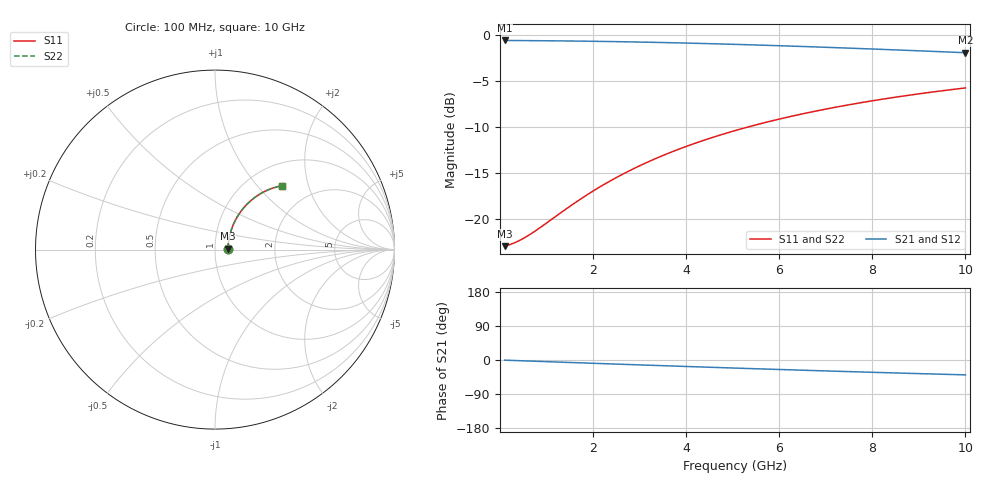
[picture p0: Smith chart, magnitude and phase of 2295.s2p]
# Hz S RI R 50.00
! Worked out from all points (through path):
!   100 points, 100 MHz to 10 GHz, reference 50 ohm
!   highest |S21| = -0.64 dB at 100 MHz (marker M1); lowest = -2.0 dB at 10 GHz (marker M2)
!   group delay of S21, straight-line fit = 10.9 ps
!   lowest |S11| = -22.9 dB at 100 MHz (marker M3), VSWR 1.15, Z = 57.7 + j0.649 ohm
!   |S11| at or under -10 dB: start of sweep to 5.343 GHz
!   |S22| runs from -22.9 to -5.8 dB; largest |S21 - S12| = 0
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1e8  0.0711 0.0056  0.9289 -0.00707  0.9289 -0.00707  0.0711 0.0056
3e8  0.0722 0.0168  0.9278 -0.0212  0.9278 -0.0212  0.0722 0.0168
4e8  0.0728 0.0223  0.9272 -0.0282  0.9272 -0.0282  0.0728 0.0223
6e8  0.074 0.0334  0.9259 -0.0422  0.9259 -0.0422  0.074 0.0334
8e8  0.0755 0.0445  0.9244 -0.0562  0.9244 -0.0562  0.0755 0.0445
1.4e9  0.0818 0.0772  0.9179 -0.0977  0.9179 -0.0977  0.0818 0.0772
1.8e9  0.0875 0.0986  0.9121 -0.125  0.9121 -0.125  0.0875 0.0986
2.2e9  0.0944 0.1194  0.9051 -0.1517  0.9051 -0.1517  0.0944 0.1194
2.6e9  0.1024 0.1397  0.8969 -0.1778  0.8969 -0.1778  0.1024 0.1397
3e9  0.1115 0.1593  0.8875 -0.2033  0.8875 -0.2033  0.1115 0.1593
3.4e9  0.1216 0.1782  0.8771 -0.2281  0.8771 -0.2281  0.1216 0.1782
3.8e9  0.1327 0.1963  0.8656 -0.2521  0.8656 -0.2521  0.1327 0.1963
4.2e9  0.1447 0.2135  0.8532 -0.2753  0.8532 -0.2753  0.1447 0.2135
4.6e9  0.1576 0.2299  0.84 -0.2975  0.84 -0.2975  0.1576 0.2299
5.1e9  0.1746 0.249  0.8224 -0.3241  0.8224 -0.3241  0.1746 0.249
5.5e9  0.189 0.2632  0.8076 -0.3442  0.8076 -0.3442  0.189 0.2632
5.9e9  0.2039 0.2764  0.7922 -0.3634  0.7922 -0.3634  0.2039 0.2764
6.7e9  0.235 0.2998  0.7599 -0.3987  0.7599 -0.3987  0.235 0.2998
7.5e9  0.2674 0.3192  0.7262 -0.4301  0.7262 -0.4301  0.2674 0.3192
8.4e9  0.3046 0.3363  0.6873 -0.4608  0.6873 -0.4608  0.3046 0.3363
9.2e9  0.3379 0.3476  0.6524 -0.4842  0.6524 -0.4842  0.3379 0.3476
1e10  0.3708 0.3554  0.6176 -0.5042  0.6176 -0.5042  0.3708 0.3554
